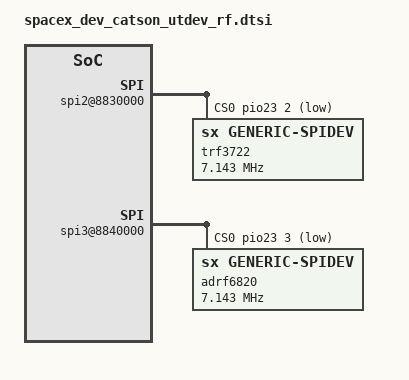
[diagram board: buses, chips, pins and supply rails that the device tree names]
/*
 * Copyright (C) 2018 STMicroelectronics (R&D) Limited.
 * Author: Nicolas Toromanoff <nicolas.toromanoff@st.com>
 *
 * This program is free software; you can redistribute it and/or modify
 * it under the terms of the GNU General Public License version 2 as
 * published by the Free Software Foundation.
 */

#include <dt-bindings/gpio/gpio.h>

/ {
    /* Define the RF hardware available on the utdev board. */

	gpios {
		/*
		 * Mod/demod lock detect.
		 */
		spi_up_ld    = <&pio23 0>;
		spi_down_ld  = <&pio23 1>;

		/*
		 * Mark Sapper 3/6/19:
		 * RF-CTL-GPIO needs to be driven low to enable the demod.
		 * RF-TX-RX-SWITCH needs to be driven low to enable the mod.
		 */
		mod_enable_n   = <&pio22 4 1>; /* RF-TX-RX-SWITCH */
		demod_enable_n = <&pio22 0 1>; /* RF-CTL-GPIO */

	};

	spidevs {
		trf3722 = <&trf3722>;
		adrf6820 = <&adrf6820>;
	};

	soc {
		l1l2sync: l1l2sync {
			pinctrl-0 = <&pinctrl_gps_1pps>;
		};

		serial1: serial@8860000 {
			/* Disable serial1 to free PIO23[0:1] */
			status = "disabled";
		};

		spi2@8830000 {
			#address-cells = <1>;
			#size-cells = <0>;

			status = "okay";
			num-cs = <1>;
			cs-gpios = <&pio23 2 GPIO_ACTIVE_LOW>;
			pinctrl-names = "default";
			pinctrl-0 = <&pinctrl_spi2_alt>;

			/* Quadrature modulator (upconverter) */
			trf3722: spi@0 {
				/* spidev interface for checkout */
				compatible = "sx,generic-spidev";
				reg = <0>;

				/*
				 * 20 MHz chip (theoretical)
				 * Catson limited to 14.285MHz
				 * Drop SPI frequency to actually meet
				 * setup/hold requirements
				 */
				spi-max-frequency = <7142500>;
			};
		};

		spi3@8840000 {
			#address-cells = <1>;
			#size-cells = <0>;

			status = "okay";
			num-cs = <1>;
			cs-gpios = <&pio23 3 GPIO_ACTIVE_LOW>;
			pinctrl-names = "default";
			pinctrl-0 = <&pinctrl_spi3_alt>;

			/* Quadrature demodulator (downconverter) */
			adrf6820: spi@0 {
				/* spidev interface for checkout */
				compatible = "sx,generic-spidev";
				reg = <0>;

				/*
				 * 26.3 MHz chip (theoretical)
				 * Catson limited to 14.285MHz
				 * Drop SPI frequency to actually meet
				 * setup/hold requirements
				 */
				spi-max-frequency = <7142500>;
			};
		};
	};
};
